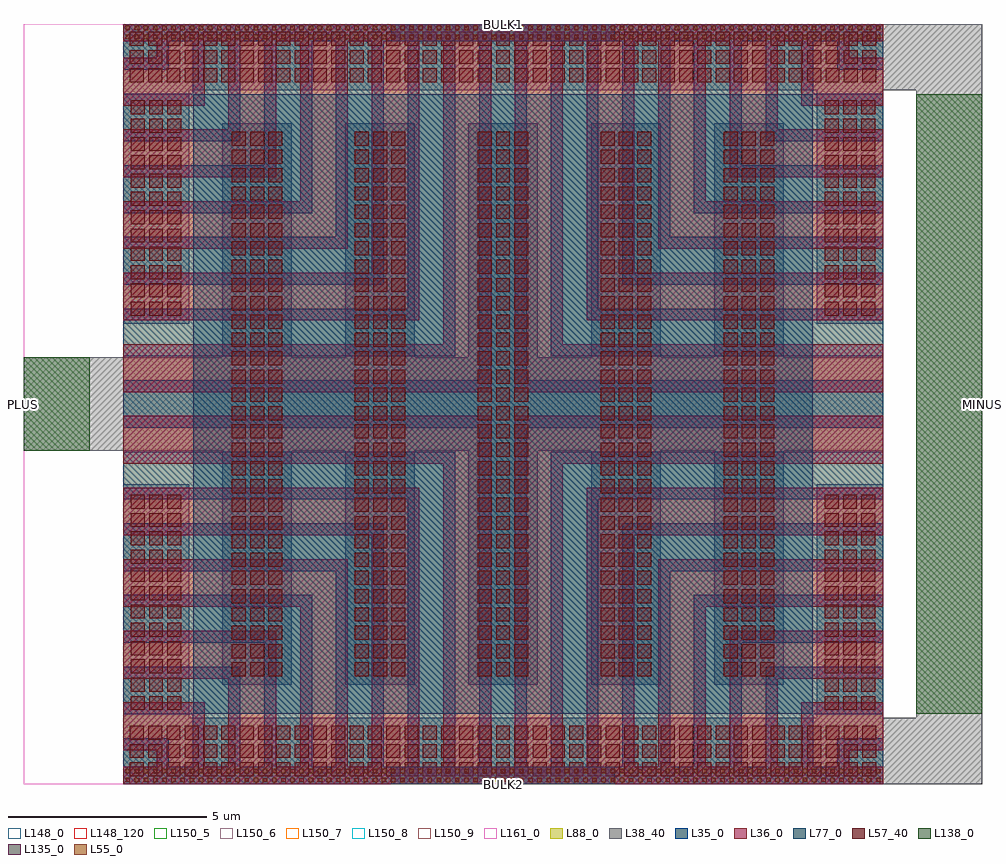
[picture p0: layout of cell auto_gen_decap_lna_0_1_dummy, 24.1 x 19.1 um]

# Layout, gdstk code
import gdstk
lib = gdstk.Library(unit=1e-6, precision=1e-09)
def R(c, l, rs):  # rectangles x0, y0, x1, y1
    for r in rs: c.add(gdstk.rectangle(r[:2], r[2:], *l))
def A(c, l, x, y, w, h, nx, ny, dx, dy):  # array of equal rectangles
    R(c, l, [(x+i*dx, y+j*dy, x+i*dx+w, y+j*dy+h) for i in range(nx) for j in range(ny)])
def P(c, l, *ps):  # polygons
    for p in ps: c.add(gdstk.Polygon(p, *l))
L35_0 = (35, 0)
L36_0 = (36, 0)
L38_40 = (38, 40)
L55_0 = (55, 0)
L57_40 = (57, 40)
L77_0 = (77, 0)
L88_0 = (88, 0)
L135_0 = (135, 0)
L138_0 = (138, 0)
L148_0 = (148, 0)
L148_120 = (148, 120)
L150_5 = (150, 5)
L150_6 = (150, 6)
L150_7 = (150, 7)
L150_8 = (150, 8)
L150_9 = (150, 9)
L161_0 = (161, 0)

auto_gen_decap_lna_0_1_d = lib.new_cell('auto_gen_decap_lna_0_1_dummy')
R(auto_gen_decap_lna_0_1_d, L35_0, [(-1.76,-1.76,-0.61,-1.21), (-1.76,-1.76,-0.61,-0.61), (-1.76,-1.76,17.34,-1.33), (-0.01,-1.76,1.19,0.59), (1.79,-1.76,2.99,2.39), (3.59,-1.76,4.79,4.19), (5.39,-1.76,6.59,5.99), (7.19,-1.76,8.39,17.34), (8.99,-1.76,10.19,5.99), (10.79,-1.76,11.99,4.19), (12.59,-1.76,13.79,2.39), (14.39,-1.76,15.59,0.59), (16.19,-1.76,17.34,-1.21), (16.19,-1.76,17.34,-0.61), (-1.76,-0.01,1.19,1.19), (14.39,-0.01,17.34,1.19), (-1.76,1.79,2.99,2.99), (12.59,1.79,17.34,2.99), (-1.76,3.59,4.79,4.79), (10.79,3.59,17.34,4.79), (-1.76,5.39,6.59,6.59), (8.99,5.39,17.34,6.59), (-1.76,7.19,17.34,8.39), (-1.76,8.99,6.59,10.19), (8.99,8.99,17.34,10.19), (5.39,9.59,6.59,17.34), (8.99,9.59,10.19,17.34), (-1.76,10.79,4.79,11.99), (10.79,10.79,17.34,11.99), (3.59,11.39,4.79,17.34), (10.79,11.39,11.99,17.34), (-1.76,12.59,2.99,13.79), (12.59,12.59,17.34,13.79), (1.79,13.19,2.99,17.34), (12.59,13.19,13.79,17.34), (-1.76,14.39,1.19,15.59), (14.39,14.39,17.34,15.59), (-0.01,14.99,1.19,17.34), (14.39,14.99,15.59,17.34), (-1.76,16.19,-0.61,17.34), (16.19,16.19,17.34,17.34), (-1.76,16.79,-0.61,17.34), (16.19,16.79,17.34,17.34), (-1.76,16.91,17.34,17.34)])
R(auto_gen_decap_lna_0_1_d, L36_0, [(-1.76,-1.76,17.34,-1.33), (-0.91,-1.76,0.29,-0.31), (0.89,-1.76,2.09,1.49), (2.69,-1.76,3.89,3.29), (4.49,-1.76,5.69,5.09), (6.29,-1.76,7.49,6.89), (8.09,-1.76,9.29,6.89), (9.89,-1.76,11.09,5.09), (11.69,-1.76,12.89,3.29), (13.49,-1.76,14.69,1.49), (15.29,-1.76,16.49,-0.31), (-1.76,-0.91,0.29,0.29), (15.29,-0.91,17.34,0.29), (-1.76,0.89,2.09,2.09), (13.49,0.89,17.34,2.09), (-1.76,2.69,3.89,3.89), (11.69,2.69,17.34,3.89), (-1.76,4.49,5.69,5.69), (9.89,4.49,17.34,5.69), (-1.76,6.29,7.49,7.49), (8.09,6.29,17.34,7.49), (-1.76,8.09,7.49,9.29), (8.09,8.09,17.34,9.29), (6.29,8.69,7.49,17.34), (8.09,8.69,9.29,17.34), (-1.76,9.89,5.69,11.09), (9.89,9.89,17.34,11.09), (4.49,10.49,5.69,17.34), (9.89,10.49,11.09,17.34), (-1.76,11.69,3.89,12.89), (11.69,11.69,17.34,12.89), (2.69,12.29,3.89,17.34), (11.69,12.29,12.89,17.34), (-1.76,13.49,2.09,14.69), (13.49,13.49,17.34,14.69), (0.89,14.09,2.09,17.34), (13.49,14.09,14.69,17.34), (-1.76,15.29,0.29,16.49), (15.29,15.29,17.34,16.49), (-0.91,15.89,0.29,17.34), (15.29,15.89,16.49,17.34), (-1.76,16.91,17.34,17.34)])
A(auto_gen_decap_lna_0_1_d, L38_40, 0.74, 0.74, 1.74, 5.87, 5, 1, 3.09, 0)
R(auto_gen_decap_lna_0_1_d, L38_40, [(17.34,-1.76,19.84,-0.1), (18.18,-1.76,19.84,17.34), (-4.26,6.61,17.34,8.97), (0.74,8.97,2.48,14.84), (0.74,8.97,2.48,14.84), (3.83,8.97,5.57,14.84), (3.83,8.97,5.57,14.84), (6.92,8.97,8.66,14.84), (6.92,8.97,8.66,14.84), (10.01,8.97,11.75,14.84), (10.01,8.97,11.75,14.84), (13.1,8.97,14.84,14.84), (13.1,8.97,14.84,14.84), (17.34,15.68,19.84,17.34)])
P(auto_gen_decap_lna_0_1_d, L38_40, [(-1.76,9.81),(-1.76,17.34),(17.34,17.34),(17.34,9.81),(15.68,9.81),(15.68,15.68),(-0.1,15.68),(-0.1,9.81)],
  [(-1.76,-1.76),(-1.76,5.77),(-0.1,5.77),(-0.1,-0.1),(15.68,-0.1),(15.68,5.77),(17.34,5.77),(17.34,-1.76)])
A(auto_gen_decap_lna_0_1_d, L55_0, -1.695, -1.715, 0.11, 0.11, 83, 2, 0.23, 0.23)
A(auto_gen_decap_lna_0_1_d, L55_0, -1.695, 16.955, 0.11, 0.11, 83, 2, 0.23, 0.23)
A(auto_gen_decap_lna_0_1_d, L57_40, -1.585, -1.565, 0.35, 0.35, 41, 3, 0.46, 0.46)
A(auto_gen_decap_lna_0_1_d, L57_40, -1.565, 0.1, 0.35, 0.35, 3, 12, 0.46, 0.46)
A(auto_gen_decap_lna_0_1_d, L57_40, 15.875, 0.1, 0.35, 0.35, 3, 12, 0.46, 0.46)
A(auto_gen_decap_lna_0_1_d, L57_40, 0.975, 0.945, 0.35, 0.35, 3, 30, 0.46, 0.46)
A(auto_gen_decap_lna_0_1_d, L57_40, 4.065, 0.945, 0.35, 0.35, 3, 30, 0.46, 0.46)
A(auto_gen_decap_lna_0_1_d, L57_40, 7.155, 0.945, 0.35, 0.35, 3, 30, 0.46, 0.46)
A(auto_gen_decap_lna_0_1_d, L57_40, 10.245, 0.945, 0.35, 0.35, 3, 30, 0.46, 0.46)
A(auto_gen_decap_lna_0_1_d, L57_40, 13.335, 0.945, 0.35, 0.35, 3, 30, 0.46, 0.46)
A(auto_gen_decap_lna_0_1_d, L57_40, -1.565, 10.01, 0.35, 0.35, 3, 12, 0.46, 0.46)
A(auto_gen_decap_lna_0_1_d, L57_40, 15.875, 10.01, 0.35, 0.35, 3, 12, 0.46, 0.46)
A(auto_gen_decap_lna_0_1_d, L57_40, -1.585, 15.875, 0.35, 0.35, 41, 3, 0.46, 0.46)
R(auto_gen_decap_lna_0_1_d, L77_0, [(0,0,15.58,15.58)])
R(auto_gen_decap_lna_0_1_d, L88_0, [(-1.76,-1.76,17.34,17.34)])
R(auto_gen_decap_lna_0_1_d, L135_0, [(4.978,-1.76,10.602,-1.33), (4.978,16.91,10.602,17.34)])
R(auto_gen_decap_lna_0_1_d, L138_0, [(18.18,0,19.84,15.58), (-4.26,6.61,-2.6,8.97)])
R(auto_gen_decap_lna_0_1_d, L148_0, [(-4.26,-1.76,19.84,17.34)])
R(auto_gen_decap_lna_0_1_d, L148_120, [(-4.26,-1.76,19.84,17.34)])
R(auto_gen_decap_lna_0_1_d, L150_5, [(-4.26,-1.76,19.84,17.34)])
R(auto_gen_decap_lna_0_1_d, L150_6, [(-4.26,-1.76,19.84,17.34)])
R(auto_gen_decap_lna_0_1_d, L150_7, [(-4.26,-1.76,19.84,17.34)])
R(auto_gen_decap_lna_0_1_d, L150_8, [(-4.26,-1.76,19.84,17.34)])
R(auto_gen_decap_lna_0_1_d, L150_9, [(-4.26,-1.76,19.84,17.34)])
R(auto_gen_decap_lna_0_1_d, L161_0, [(-4.26,-1.76,19.84,17.34)])
auto_gen_decap_lna_0_1_d.add(gdstk.Label('BULK1', (7.79,17.34), layer=135, texttype=0))
auto_gen_decap_lna_0_1_d.add(gdstk.Label('BULK2', (7.79,-1.76), layer=135, texttype=0))
auto_gen_decap_lna_0_1_d.add(gdstk.Label('PLUS', (-4.26,7.79), layer=138, texttype=0))
auto_gen_decap_lna_0_1_d.add(gdstk.Label('MINUS', (19.84,7.79), layer=138, texttype=0))

lib.write_gds('auto_gen_decap_lna_0_1_dummy.gds')
